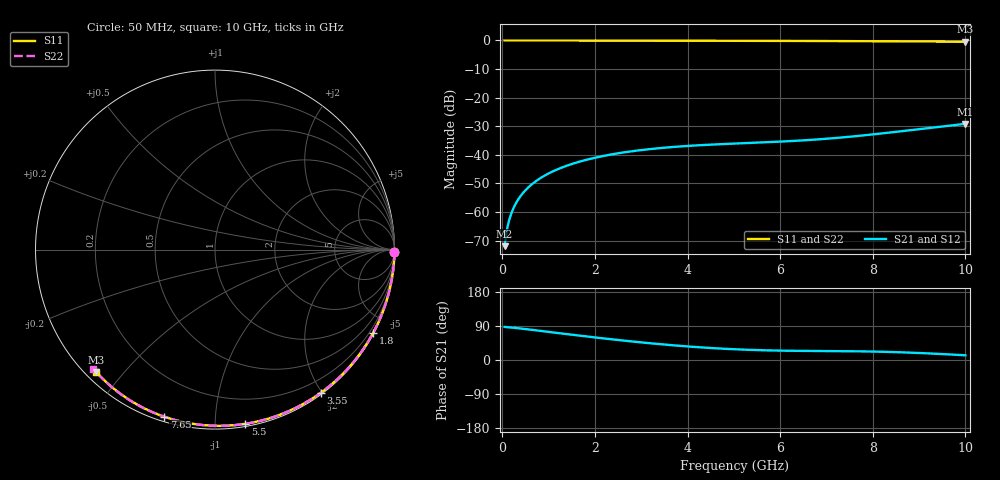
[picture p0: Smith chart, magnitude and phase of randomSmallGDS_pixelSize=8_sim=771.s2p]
! freq	dB(S11)	phase(S11)	dB(S12)	phase(S12)
!  dB(S21)	phase(S21)	dB(S22)	phase(S22)
!S-par simulation data
#  GHz  S  DB  R 50
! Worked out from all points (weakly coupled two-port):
!   200 points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, 50 MHz to 10 GHz, reference 50 ohm
!   highest |S21| = -29.17 dB at 10 GHz (marker M1); lowest = -72.0 dB at 50 MHz (marker M2)
!   lowest |S11| = -0.4 dB at 10 GHz (marker M3), VSWR 39.08, Z = 1.51 - j21.2 ohm
!   |S11| at or under -10 dB: nowhere
!   |S22| runs from -0.4 to 0.0 dB; largest |S21 - S12| = 0
!   S11 on the Smith chart (normalised r, x): 50 MHz: open; 1.8 GHz: 0.04, -4.03; 3.55 GHz: 0.02, -1.98; 5.5 GHz: 0.02, -1.19; 7.65 GHz: 0.02, -0.74; 10 GHz: 0.03, -0.42
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0.05  -0.00 -0.8  -71.98 87.4  -71.98 87.4  -0.00 -0.8
0.1  -0.00 -1.6  -66.16 86.6  -66.16 86.6  -0.00 -1.6
0.15  -0.00 -2.4  -62.73 86.1  -62.73 86.1  -0.00 -2.4
0.2  -0.00 -3.1  -60.28 85.6  -60.28 85.6  -0.00 -3.2
0.25  -0.00 -3.9  -58.37 85.0  -58.37 85.0  -0.00 -4.0
0.35  -0.00 -5.5  -55.48 83.7  -55.48 83.7  -0.00 -5.6
0.5  -0.01 -7.8  -52.41 81.6  -52.41 81.6  -0.01 -7.9
0.7  -0.01 -11.0  -49.54 78.7  -49.54 78.7  -0.01 -11.1
1  -0.02 -15.6  -46.54 74.2  -46.54 74.2  -0.02 -15.8
1.35  -0.03 -21.0  -44.08 69.0  -44.08 69.0  -0.03 -21.2
1.75  -0.03 -27.1  -42.04 63.1  -42.04 63.1  -0.03 -27.4
1.8  -0.04 -27.8  -41.83 62.4  -41.83 62.4  -0.04 -28.2
2.5  -0.05 -38.3  -39.49 52.8  -39.49 52.8  -0.05 -38.8
3.4  -0.07 -51.5  -37.67 41.9  -37.67 41.9  -0.07 -52.1
3.55  -0.07 -53.6  -37.45 40.2  -37.45 40.2  -0.07 -54.2
4.3  -0.09 -64.1  -36.62 33.2  -36.62 33.2  -0.09 -64.9
5.05  -0.11 -74.3  -36.05 28.2  -36.05 28.2  -0.11 -75.1
5.5  -0.13 -80.2  -35.76 26.1  -35.76 26.1  -0.13 -81.1
6.7  -0.18 -95.4  -34.75 23.8  -34.75 23.8  -0.18 -96.5
7.65  -0.24 -106.9  -33.46 23.0  -33.46 23.0  -0.24 -108.1
8.35  -0.29 -115.2  -32.26 21.3  -32.26 21.3  -0.29 -116.5
10  -0.44 -134.1  -29.17 12.4  -29.17 12.4  -0.45 -135.6
